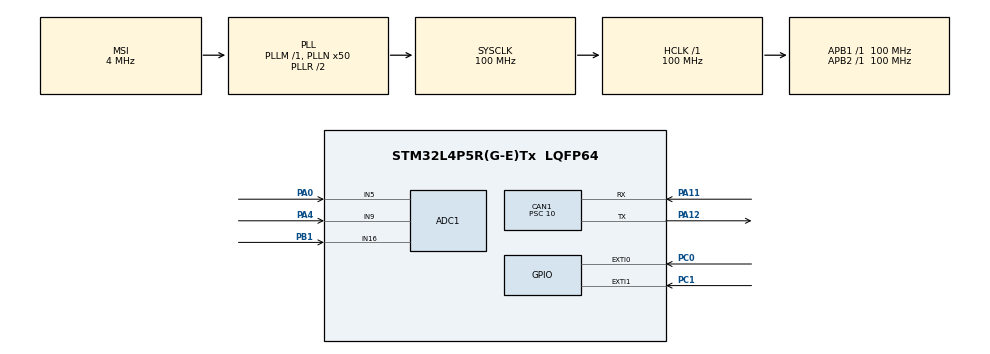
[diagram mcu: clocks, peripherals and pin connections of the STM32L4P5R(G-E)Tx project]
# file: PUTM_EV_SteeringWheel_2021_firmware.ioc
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ADC1.Channel-1\#ChannelRegularConversion=ADC_CHANNEL_5
ADC1.NbrOfConversionFlag=1
ADC1.OffsetNumber-1\#ChannelRegularConversion=ADC_OFFSET_NONE
ADC1.Rank-1\#ChannelRegularConversion=1
ADC1.SamplingTime-1\#ChannelRegularConversion=ADC_SAMPLETIME_2CYCLES_5
ADC1.master=1
CAN1.BS1=CAN_BS1_8TQ
CAN1.CalculateBaudRate=1000000
CAN1.CalculateTimeBit=1000.00
CAN1.CalculateTimeQuantum=100.0
CAN1.Prescaler=10
Dma.ADC1.0.Direction=DMA_PERIPH_TO_MEMORY
Dma.ADC1.0.EventEnable=DISABLE
Dma.ADC1.0.Instance=DMA1_Channel1
Dma.ADC1.0.MemDataAlignment=DMA_MDATAALIGN_HALFWORD
Dma.ADC1.0.MemInc=DMA_MINC_ENABLE
Dma.ADC1.0.Mode=DMA_NORMAL
Dma.ADC1.0.PeriphDataAlignment=DMA_PDATAALIGN_HALFWORD
Dma.ADC1.0.PeriphInc=DMA_PINC_DISABLE
Dma.ADC1.0.Polarity=HAL_DMAMUX_REQ_GEN_RISING
Dma.ADC1.0.Priority=DMA_PRIORITY_LOW
Dma.ADC1.0.RequestNumber=1
Dma.ADC1.0.SignalID=NONE
Dma.ADC1.0.SyncEnable=DISABLE
Dma.ADC1.0.SyncPolarity=HAL_DMAMUX_SYNC_NO_EVENT
Dma.ADC1.0.SyncRequestNumber=1
Dma.ADC1.0.SyncSignalID=NONE
Dma.Request0=ADC1
Mcu.Family=STM32L4
Mcu.Name=STM32L4P5R(G-E)Tx
Mcu.Package=LQFP64
NVIC.DMA1_Channel1_IRQn=true\:0\:0\:false\:false\:true\:false\:true
NVIC.EXTI0_IRQn=true\:0\:0\:false\:false\:true\:true\:true
NVIC.EXTI1_IRQn=true\:0\:0\:false\:false\:true\:true\:true
NVIC.PriorityGroup=NVIC_PRIORITYGROUP_4
NVIC.TIM1_BRK_TIM15_IRQn=true\:0\:0\:false\:false\:true\:true\:true
PA0.Signal=ADCx_IN5
PA11.Mode=CAN_Activate
PA11.Signal=CAN1_RX
PA12.Mode=CAN_Activate
PA12.Signal=CAN1_TX
PA13\ (JTMS/SWDIO).Mode=Serial_Wire
PA13\ (JTMS/SWDIO).Signal=SYS_JTMS-SWDIO
PA14\ (JTCK/SWCLK).Mode=Serial_Wire
PA14\ (JTCK/SWCLK).Signal=SYS_JTCK-SWCLK
PA4.Signal=ADCx_IN9
PB1.Signal=ADCx_IN16
PC0.GPIO_ModeDefaultEXTI=GPIO_MODE_IT_FALLING
PC0.GPIO_PuPd=GPIO_PULLUP
PC0.Signal=GPXTI0
PC1.GPIO_ModeDefaultEXTI=GPIO_MODE_IT_FALLING
PC1.GPIO_PuPd=GPIO_PULLUP
PC1.Signal=GPXTI1
PH0-OSC_IN\ (PH0).Mode=HSE-External-Oscillator
PH0-OSC_IN\ (PH0).Signal=RCC_OSC_IN
PH1-OSC_OUT\ (PH1).Mode=HSE-External-Oscillator
PH1-OSC_OUT\ (PH1).Signal=RCC_OSC_OUT
ProjectManager.HeapSize=0x200
ProjectManager.StackSize=0x400
ProjectManager.TargetToolchain=STM32CubeIDE
RCC.ADCFreq_Value=32000000
RCC.AHBFreq_Value=100000000
RCC.APB1Freq_Value=100000000
RCC.APB1TimFreq_Value=100000000
RCC.APB2Freq_Value=100000000
RCC.APB2TimFreq_Value=100000000
RCC.CortexFreq_Value=100000000
RCC.HCLKFreq_Value=100000000
RCC.HSE_VALUE=16000000
RCC.HSI48_VALUE=48000000
RCC.HSI_VALUE=16000000
RCC.LSE_VALUE=32768
RCC.MSI_VALUE=4000000
RCC.PLLN=50
RCC.PLLSAI1N=16
RCC.SYSCLKFreq_VALUE=100000000
RCC.SYSCLKSource=RCC_SYSCLKSOURCE_PLLCLK
RCC.USBFreq_Value=32000000
RCC.VCOOutputFreq_Value=200000000
SH.ADCx_IN16.0=ADC1_IN16,IN16-Single-Ended
SH.ADCx_IN5.0=ADC1_IN5,IN5-Single-Ended
SH.ADCx_IN9.0=ADC1_IN9,IN9-Single-Ended
TIM1.Period=999
TIM1.Prescaler=9999
TIM3.Period=99
TIM3.Prescaler=999
VP_TIM1_VS_ClockSourceINT.Mode=Internal
VP_TIM3_VS_ClockSourceINT.Mode=Internal
board=custom

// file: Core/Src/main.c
/* USER CODE BEGIN Header */
/**
  ******************************************************************************
  * @file           : main.c
  * @brief          : Main program body
  ******************************************************************************
  * @attention
  *
  * <h2><center>&copy; Copyright (c) 2021 STMicroelectronics.
  * All rights reserved.</center></h2>
  *
  * This software component is licensed by ST under BSD 3-Clause license,
  * the "License"; You may not use this file except in compliance with the
  * License. You may obtain a copy of the License at:
  *                        opensource.org/licenses/BSD-3-Clause
  *
  ******************************************************************************
  */
/* USER CODE END Header */
#include "main.h"

/* USER CODE BEGIN Includes */
#include "common.h"

/* USER CODE END Includes */

ADC_HandleTypeDef hadc1;
DMA_HandleTypeDef hdma_adc1;

CAN_HandleTypeDef hcan1;

TIM_HandleTypeDef htim1;
TIM_HandleTypeDef htim3;

/* USER CODE BEGIN PV */
CAN_FilterTypeDef sFilterConfig;

uint8_t sendCanFrame;

uint16_t analogRaw[300];
uint8_t analogSwitch1;
uint8_t analogSwitch2;
uint8_t analogSwitch3;
uint8_t buttonsState1;
uint8_t buttonsState2;
uint8_t txCanData[8] = {0, 0, 0, 0, 0, 0, 0, 0};

/* USER CODE END PV */

void SystemClock_Config(void);

static void MX_GPIO_Init(void);

static void MX_DMA_Init(void);

static void MX_ADC1_Init(void);

static void MX_CAN1_Init(void);

static void MX_TIM1_Init(void);

static void MX_TIM3_Init(void);

/* USER CODE BEGIN PFP */
void myCANInit(void);

/* USER CODE END PFP */

int main(void) {

    /* MCU Configuration--------------------------------------------------------*/

    /* Reset of all peripherals, Initializes the Flash interface and the Systick. */
    HAL_Init();

    /* Configure the system clock */
    SystemClock_Config();

    /* Initialize all configured peripherals */
    MX_GPIO_Init();
    MX_DMA_Init();
    MX_ADC1_Init();
    MX_CAN1_Init();
    MX_TIM1_Init();
    MX_TIM3_Init();
    /* USER CODE BEGIN 2 */

    HAL_ADC_Start_DMA(&hadc1, (uint32_t *) analogRaw, 300);
    HAL_TIM_Base_Start_IT(&htim1);
    HAL_TIM_Base_Start(&htim3);

    CAN_TxHeaderTypeDef canTxHeaderTypeDef;
    canTxHeaderTypeDef.StdId = STEERING_WHEEL_ID;
    canTxHeaderTypeDef.RTR = CAN_RTR_DATA;
    canTxHeaderTypeDef.IDE = CAN_ID_STD;
    canTxHeaderTypeDef.DLC = STEERING_WHEEL_DLC;
    canTxHeaderTypeDef.TransmitGlobalTime = DISABLE;
    uint32_t txMailBox = 0;

    myCANInit();
    /* USER CODE END 2 */

    /* Infinite loop */
    /* USER CODE BEGIN WHILE */
    while (1) {
        if (sendCanFrame){
            prepareAnalogSwitchData();
            txCanData[0] = analogSwitch1;
            txCanData[1] = analogSwitch2;
            txCanData[2] = analogSwitch3;
            txCanData[3] = (buttonsState1 < BUTTON_OFFSET_1) | (buttonsState2 < BUTTON_OFFSET_2);

            HAL_StatusTypeDef status = HAL_CAN_AddTxMessage(&hcan1, &canTxHeaderTypeDef, txCanData, &txMailBox);
            if (status != HAL_OK){
                Error_Handler();
            }

            sendCanFrame = 0;
            buttonsState1 = 0;
            buttonsState2 = 0;
        }
        /* USER CODE END WHILE */

    }
}

void SystemClock_Config(void) {
    RCC_OscInitTypeDef RCC_OscInitStruct = {0};
    RCC_ClkInitTypeDef RCC_ClkInitStruct = {0};
    RCC_PeriphCLKInitTypeDef PeriphClkInit = {0};

    /** Configure the main internal regulator output voltage
    */
    if (HAL_PWREx_ControlVoltageScaling(PWR_REGULATOR_VOLTAGE_SCALE1_BOOST) != HAL_OK) {
        Error_Handler();
    }
    /** Initializes the RCC Oscillators according to the specified parameters
    * in the RCC_OscInitTypeDef structure.
    */
    RCC_OscInitStruct.OscillatorType = RCC_OSCILLATORTYPE_MSI;
    RCC_OscInitStruct.MSIState = RCC_MSI_ON;
    RCC_OscInitStruct.MSICalibrationValue = 0;
    RCC_OscInitStruct.MSIClockRange = RCC_MSIRANGE_6;
    RCC_OscInitStruct.PLL.PLLState = RCC_PLL_ON;
    RCC_OscInitStruct.PLL.PLLSource = RCC_PLLSOURCE_MSI;
    RCC_OscInitStruct.PLL.PLLM = 1;
    RCC_OscInitStruct.PLL.PLLN = 50;
    RCC_OscInitStruct.PLL.PLLP = RCC_PLLP_DIV7;
    RCC_OscInitStruct.PLL.PLLQ = RCC_PLLQ_DIV2;
    RCC_OscInitStruct.PLL.PLLR = RCC_PLLR_DIV2;
    if (HAL_RCC_OscConfig(&RCC_OscInitStruct) != HAL_OK) {
        Error_Handler();
    }
    /** Initializes the CPU, AHB and APB buses clocks
    */
    RCC_ClkInitStruct.ClockType = RCC_CLOCKTYPE_HCLK | RCC_CLOCKTYPE_SYSCLK
                                  | RCC_CLOCKTYPE_PCLK1 | RCC_CLOCKTYPE_PCLK2;
    RCC_ClkInitStruct.SYSCLKSource = RCC_SYSCLKSOURCE_PLLCLK;
    RCC_ClkInitStruct.AHBCLKDivider = RCC_SYSCLK_DIV1;
    RCC_ClkInitStruct.APB1CLKDivider = RCC_HCLK_DIV1;
    RCC_ClkInitStruct.APB2CLKDivider = RCC_HCLK_DIV1;

    if (HAL_RCC_ClockConfig(&RCC_ClkInitStruct, FLASH_LATENCY_4) != HAL_OK) {
        Error_Handler();
    }
    PeriphClkInit.PeriphClockSelection = RCC_PERIPHCLK_ADC;
    PeriphClkInit.AdcClockSelection = RCC_ADCCLKSOURCE_PLLSAI1;
    PeriphClkInit.PLLSAI1.PLLSAI1Source = RCC_PLLSOURCE_MSI;
    PeriphClkInit.PLLSAI1.PLLSAI1M = 1;
    PeriphClkInit.PLLSAI1.PLLSAI1N = 16;
    PeriphClkInit.PLLSAI1.PLLSAI1P = RCC_PLLP_DIV7;
    PeriphClkInit.PLLSAI1.PLLSAI1Q = RCC_PLLQ_DIV2;
    PeriphClkInit.PLLSAI1.PLLSAI1R = RCC_PLLR_DIV2;
    PeriphClkInit.PLLSAI1.PLLSAI1ClockOut = RCC_PLLSAI1_ADC1CLK;
    if (HAL_RCCEx_PeriphCLKConfig(&PeriphClkInit) != HAL_OK) {
        Error_Handler();
    }
}

static void MX_ADC1_Init(void) {

    ADC_MultiModeTypeDef multimode = {0};
    ADC_ChannelConfTypeDef sConfig = {0};

    /** Common config
    */
    hadc1.Instance = ADC1;
    hadc1.Init.ClockPrescaler = ADC_CLOCK_ASYNC_DIV1;
    hadc1.Init.Resolution = ADC_RESOLUTION_12B;
    hadc1.Init.DataAlign = ADC_DATAALIGN_RIGHT;
    hadc1.Init.ScanConvMode = ADC_SCAN_DISABLE;
    hadc1.Init.EOCSelection = ADC_EOC_SINGLE_CONV;
    hadc1.Init.LowPowerAutoWait = DISABLE;
    hadc1.Init.ContinuousConvMode = DISABLE;
    hadc1.Init.NbrOfConversion = 1;
    hadc1.Init.DiscontinuousConvMode = DISABLE;
    hadc1.Init.ExternalTrigConv = ADC_SOFTWARE_START;
    hadc1.Init.ExternalTrigConvEdge = ADC_EXTERNALTRIGCONVEDGE_NONE;
    hadc1.Init.DMAContinuousRequests = DISABLE;
    hadc1.Init.Overrun = ADC_OVR_DATA_PRESERVED;
    hadc1.Init.OversamplingMode = DISABLE;
    if (HAL_ADC_Init(&hadc1) != HAL_OK) {
        Error_Handler();
    }
    /** Configure the ADC multi-mode
    */
    multimode.Mode = ADC_MODE_INDEPENDENT;
    if (HAL_ADCEx_MultiModeConfigChannel(&hadc1, &multimode) != HAL_OK) {
        Error_Handler();
    }
    /** Configure Regular Channel
    */
    sConfig.Channel = ADC_CHANNEL_5;
    sConfig.Rank = ADC_REGULAR_RANK_1;
    sConfig.SamplingTime = ADC_SAMPLETIME_2CYCLES_5;
    sConfig.SingleDiff = ADC_SINGLE_ENDED;
    sConfig.OffsetNumber = ADC_OFFSET_NONE;
    sConfig.Offset = 0;
    if (HAL_ADC_ConfigChannel(&hadc1, &sConfig) != HAL_OK) {
        Error_Handler();
    }

}

static void MX_CAN1_Init(void) {

    hcan1.Instance = CAN1;
    hcan1.Init.Prescaler = 10;
    hcan1.Init.Mode = CAN_MODE_NORMAL;
    hcan1.Init.SyncJumpWidth = CAN_SJW_1TQ;
    hcan1.Init.TimeSeg1 = CAN_BS1_8TQ;
    hcan1.Init.TimeSeg2 = CAN_BS2_1TQ;
    hcan1.Init.TimeTriggeredMode = DISABLE;
    hcan1.Init.AutoBusOff = DISABLE;
    hcan1.Init.AutoWakeUp = DISABLE;
    hcan1.Init.AutoRetransmission = DISABLE;
    hcan1.Init.ReceiveFifoLocked = DISABLE;
    hcan1.Init.TransmitFifoPriority = DISABLE;
    if (HAL_CAN_Init(&hcan1) != HAL_OK) {
        Error_Handler();
    }

}

static void MX_TIM1_Init(void) {

    TIM_ClockConfigTypeDef sClockSourceConfig = {0};
    TIM_MasterConfigTypeDef sMasterConfig = {0};

    htim1.Instance = TIM1;
    htim1.Init.Prescaler = 9999;
    htim1.Init.CounterMode = TIM_COUNTERMODE_UP;
    htim1.Init.Period = 999;
    htim1.Init.ClockDivision = TIM_CLOCKDIVISION_DIV1;
    htim1.Init.RepetitionCounter = 0;
    htim1.Init.AutoReloadPreload = TIM_AUTORELOAD_PRELOAD_DISABLE;
    if (HAL_TIM_Base_Init(&htim1) != HAL_OK) {
        Error_Handler();
    }
    sClockSourceConfig.ClockSource = TIM_CLOCKSOURCE_INTERNAL;
    if (HAL_TIM_ConfigClockSource(&htim1, &sClockSourceConfig) != HAL_OK) {
        Error_Handler();
    }
    sMasterConfig.MasterOutputTrigger = TIM_TRGO_RESET;
    sMasterConfig.MasterOutputTrigger2 = TIM_TRGO2_RESET;
    sMasterConfig.MasterSlaveMode = TIM_MASTERSLAVEMODE_DISABLE;
    if (HAL_TIMEx_MasterConfigSynchronization(&htim1, &sMasterConfig) != HAL_OK) {
        Error_Handler();
    }

}

static void MX_TIM3_Init(void) {

    TIM_ClockConfigTypeDef sClockSourceConfig = {0};
    TIM_MasterConfigTypeDef sMasterConfig = {0};

    htim3.Instance = TIM3;
    htim3.Init.Prescaler = 999;
    htim3.Init.CounterMode = TIM_COUNTERMODE_UP;
    htim3.Init.Period = 99;
    htim3.Init.ClockDivision = TIM_CLOCKDIVISION_DIV1;
    htim3.Init.AutoReloadPreload = TIM_AUTORELOAD_PRELOAD_DISABLE;
    if (HAL_TIM_Base_Init(&htim3) != HAL_OK) {
        Error_Handler();
    }
    sClockSourceConfig.ClockSource = TIM_CLOCKSOURCE_INTERNAL;
    if (HAL_TIM_ConfigClockSource(&htim3, &sClockSourceConfig) != HAL_OK) {
        Error_Handler();
    }
    sMasterConfig.MasterOutputTrigger = TIM_TRGO_RESET;
    sMasterConfig.MasterSlaveMode = TIM_MASTERSLAVEMODE_DISABLE;
    if (HAL_TIMEx_MasterConfigSynchronization(&htim3, &sMasterConfig) != HAL_OK) {
        Error_Handler();
    }

}

static void MX_DMA_Init(void) {

    /* DMA controller clock enable */
    __HAL_RCC_DMAMUX1_CLK_ENABLE();
    __HAL_RCC_DMA1_CLK_ENABLE();

    /* DMA interrupt init */
    /* DMA1_Channel1_IRQn interrupt configuration */
    HAL_NVIC_SetPriority(DMA1_Channel1_IRQn, 0, 0);
    HAL_NVIC_EnableIRQ(DMA1_Channel1_IRQn);

}

static void MX_GPIO_Init(void) {
    GPIO_InitTypeDef GPIO_InitStruct = {0};

    /* GPIO Ports Clock Enable */
    __HAL_RCC_GPIOH_CLK_ENABLE();
    __HAL_RCC_GPIOC_CLK_ENABLE();
    __HAL_RCC_GPIOA_CLK_ENABLE();
    __HAL_RCC_GPIOB_CLK_ENABLE();

    /*Configure GPIO pins : PC0 PC1 */
    GPIO_InitStruct.Pin = GPIO_PIN_0 | GPIO_PIN_1;
    GPIO_InitStruct.Mode = GPIO_MODE_IT_FALLING;
    GPIO_InitStruct.Pull = GPIO_PULLUP;
    HAL_GPIO_Init(GPIOC, &GPIO_InitStruct);

    /* EXTI interrupt init*/
    HAL_NVIC_SetPriority(EXTI0_IRQn, 0, 0);
    HAL_NVIC_EnableIRQ(EXTI0_IRQn);

    HAL_NVIC_SetPriority(EXTI1_IRQn, 0, 0);
    HAL_NVIC_EnableIRQ(EXTI1_IRQn);

}

/* USER CODE BEGIN 4 */
void myCANInit(void) {
    sFilterConfig.FilterBank = 0;
    sFilterConfig.FilterMode = CAN_FILTERMODE_IDMASK;
    sFilterConfig.FilterScale = CAN_FILTERSCALE_32BIT;
    sFilterConfig.FilterIdHigh = 0x0000;
    sFilterConfig.FilterIdLow = 0x0000;
    sFilterConfig.FilterMaskIdHigh = 0x0000;
    sFilterConfig.FilterMaskIdLow = 0x0000;
    sFilterConfig.FilterFIFOAssignment = CAN_RX_FIFO0;
    sFilterConfig.FilterActivation = ENABLE;
    sFilterConfig.SlaveStartFilterBank = 14;

    if (HAL_CAN_ConfigFilter(&hcan1, &sFilterConfig) != HAL_OK) {
        Error_Handler();
    }

    if (HAL_CAN_Start(&hcan1) != HAL_OK) {
        Error_Handler();
    }

    if (HAL_CAN_ActivateNotification(&hcan1, CAN_IT_RX_FIFO0_MSG_PENDING | CAN_IT_TX_MAILBOX_EMPTY) != HAL_OK) {
        Error_Handler();
    }
}

/* USER CODE END 4 */

void Error_Handler(void) {
    __disable_irq();
    while (1) {
    }
}

/************************ (C) COPYRIGHT STMicroelectronics *****END OF FILE****/
